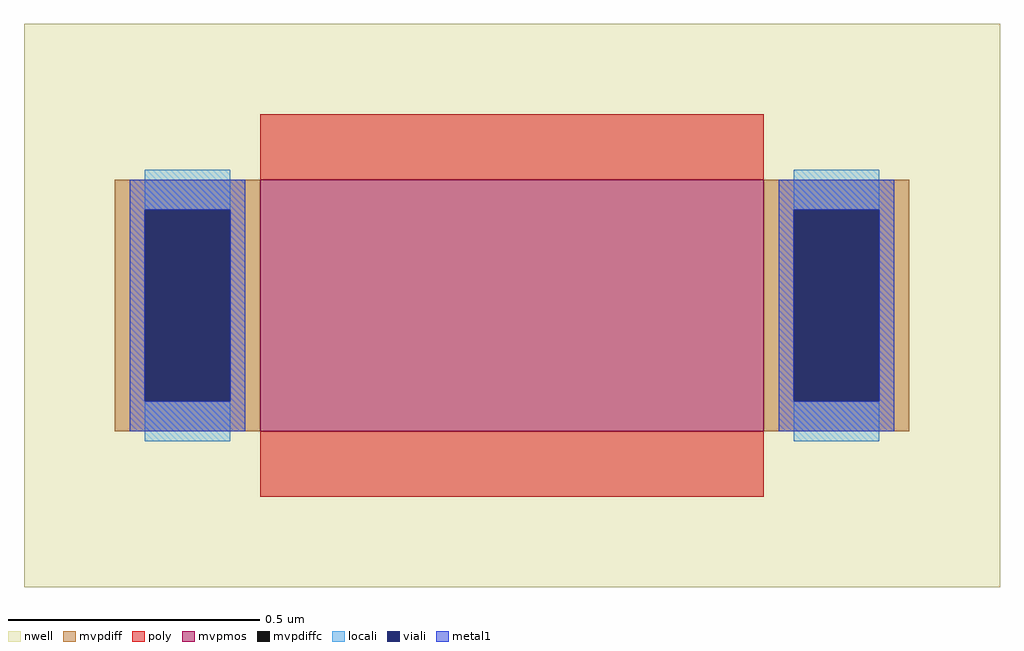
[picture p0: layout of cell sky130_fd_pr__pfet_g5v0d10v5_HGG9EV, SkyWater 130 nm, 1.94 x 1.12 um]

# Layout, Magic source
magic
tech sky130A
<< nwell >>
rect -97 -56 97 56
<< mvpmos >>
rect -50 -25 50 25
<< mvpdiff >>
rect -79 19 -50 25
rect -79 -19 -73 19
rect -56 -19 -50 19
rect -79 -25 -50 -19
rect 50 19 79 25
rect 50 -19 56 19
rect 73 -19 79 19
rect 50 -25 79 -19
<< mvpdiffc >>
rect -73 -19 -56 19
rect 56 -19 73 19
<< poly >>
rect -50 25 50 38
rect -50 -38 50 -25
<< locali >>
rect -73 19 -56 27
rect -73 -27 -56 -19
rect 56 19 73 27
rect 56 -27 73 -19
<< viali >>
rect -73 -19 -56 19
rect 56 -19 73 19
<< metal1 >>
rect -76 19 -53 25
rect -76 -19 -73 19
rect -56 -19 -53 19
rect -76 -25 -53 -19
rect 53 19 76 25
rect 53 -19 56 19
rect 73 -19 76 19
rect 53 -25 76 -19
<< properties >>
string gencell sky130_fd_pr__pfet_g5v0d10v5
string library sky130
string parameters w 0.5 l 1 m 1 nf 1 diffcov 100 polycov 100 guard 0 glc 1 grc 1 gtc 1 gbc 1 tbcov 100 rlcov 100 topc 0 botc 0 poverlap 0 doverlap 1 lmin 0.50 wmin 0.42 compatible {sky130_fd_pr__pfet_01v8  sky130_fd_pr__pfet_01v8_lvt sky130_fd_pr__pfet_01v8_hvt  sky130_fd_pr__pfet_g5v0d10v5} full_metal 1 viasrc 100 viadrn 100 viagate 100 viagb 0 viagr 0 viagl 0 viagt 0
<< end >>
